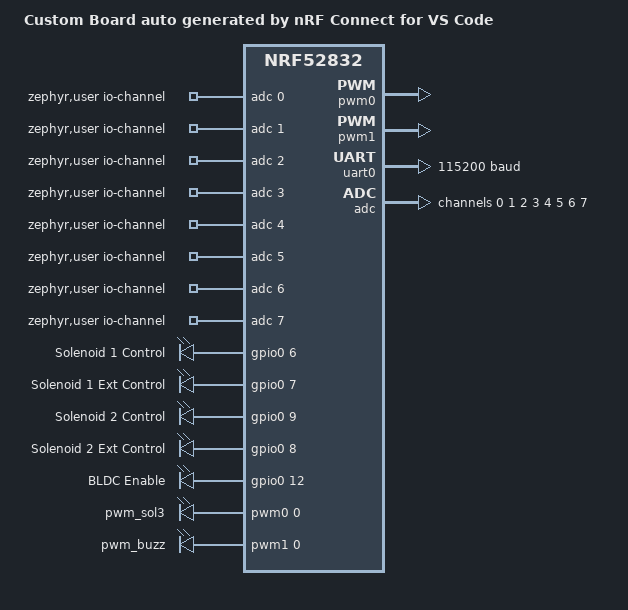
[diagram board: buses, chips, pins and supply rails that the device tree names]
/dts-v1/;
#include <nordic/nrf52832_qfaa.dtsi>
#include "nrf52832_felk_ctrl_board-pinctrl.dtsi"

/ {
	model = "Custom Board auto generated by nRF Connect for VS Code";
	compatible = "nordic_semiconductor,nrf52832-felk-ctrl-board";

	chosen {
		zephyr,console = &uart0;
		zephyr,uart-mcumgr = &uart0;
		zephyr,sram = &sram0;
		zephyr,flash = &flash0;
		zephyr,code-partition = &slot0_partition;
	};

	zephyr,user {
		io-channels = <&adc 0>, <&adc 1>, <&adc 2>, <&adc 3>, <&adc 4>, <&adc 5>, <&adc 6>, <&adc 7>;
	};

	solenoids {
		compatible = "gpio-leds";

		sol1: sol_1 {
			gpios = <&gpio0 6 GPIO_ACTIVE_HIGH>;
			label = "Solenoid 1 Control";
		};

		sol1_ext: sol_1_ext {
			gpios = <&gpio0 7 GPIO_ACTIVE_HIGH>;
			label = "Solenoid 1 Ext Control";
		};

		sol2: sol_2 {
			gpios = <&gpio0 9 GPIO_ACTIVE_HIGH>;
			label = "Solenoid 2 Control";
		};

		sol2_ext: sol_2_ext {
			gpios = <&gpio0 8 GPIO_ACTIVE_HIGH>;
			label = "Solenoid 2 Ext Control";
		};

	};

	motors {
		compatible = "gpio-leds";

		bldc: bldc {
			gpios = <&gpio0 12 GPIO_ACTIVE_HIGH>;
			label = "BLDC Enable";
		};

	};

	pwm_channels {
		compatible = "pwm-leds";

		pwm_sol3: pwm_sol3 {
			pwms = <&pwm0 0 PWM_MSEC(20) PWM_POLARITY_NORMAL>;
		};

		pwm_buzz: pwm_buzz {
			pwms = <&pwm1 0 PWM_USEC(200) PWM_POLARITY_NORMAL>;
		};

	};

	aliases {
		sol1 = &sol1;
		sol1ext = &sol1_ext;
		sol2 = &sol2;
		sol2ext = &sol2_ext;
		bldc = &bldc;
		pwmsol3 = &pwm_sol3;
		pwmbuzz = &pwm_buzz;
	};

};

&flash0 {
	partitions {
		compatible = "fixed-partitions";
		#address-cells = <1>;
		#size-cells = <1>;

		boot_partition: partition@0 {
			label = "mcuboot";
			reg = <0x00000000 DT_SIZE_K(48)>;
		};

		slot0_partition: partition@c000 {
			label = "image-0";
			reg = <0x0000c000 DT_SIZE_K(200)>;
		};

		slot1_partition: partition@3e000 {
			label = "image-1";
			reg = <0x0003e000 DT_SIZE_K(200)>;
		};

		scratch_partition: partition@70000 {
			label = "image-scratch";
			reg = <0x70000 DT_SIZE_K(40)>;
		};

		storage_partition: partition@7a000 {
			label = "storage";
			reg = <0x0007a000 DT_SIZE_K(24)>;
		};
	};
};

&gpio0 {
	status = "okay";
};


&gpiote {
	status = "okay";
};

&pwm0 {
	status = "okay";
	pinctrl-0 = <&pwm0_default>;
	pinctrl-1 = <&pwm0_sleep>;
	pinctrl-names = "default", "sleep";
};

&pwm1 {
	status = "okay";
	pinctrl-0 = <&pwm1_default>;
	pinctrl-1 = <&pwm1_sleep>;
	pinctrl-names = "default", "sleep";
};

&uart0 {
	compatible = "nordic,nrf-uarte";
	status = "okay";
	current-speed = <115200>;
	pinctrl-0 = <&uart0_default>;
	pinctrl-1 = <&uart0_sleep>;
	pinctrl-names = "default", "sleep";

};

&adc {
	status = "okay";

	#address-cells = <1>;
	#size-cells = <0>;

	// Temperature PSU
	channel@0 {
		reg = <0>;
		zephyr,gain = "ADC_GAIN_1_6";
		zephyr,reference = "ADC_REF_VDD_1_4";
		zephyr,acquisition-time = <ADC_ACQ_TIME(ADC_ACQ_TIME_MICROSECONDS, 40)>;
		zephyr,input-positive = <NRF_SAADC_AIN0>;
		zephyr,resolution = <10>;
		zephyr,oversampling = <8>;
	};

	// VDD Internal
	channel@1 {
		reg = <1>;
		zephyr,gain = "ADC_GAIN_1_6";
		zephyr,reference = "ADC_REF_INTERNAL";
		zephyr,acquisition-time = <ADC_ACQ_TIME_DEFAULT>;
		zephyr,input-positive = <NRF_SAADC_VDD>;
		zephyr,resolution = <10>;
		zephyr,oversampling = <8>;
	};

	// Pressure sensor +ve
	channel@2 {
		reg = <2>;
		zephyr,gain = "ADC_GAIN_1_5";
		zephyr,reference = "ADC_REF_INTERNAL";
		zephyr,acquisition-time = <ADC_ACQ_TIME_DEFAULT>;
		zephyr,input-positive = <NRF_SAADC_AIN2>;
		zephyr,resolution = <10>;
		zephyr,oversampling = <8>;
	};

	// Pressure sensor -ve
	channel@3 {
		reg = <3>;
		zephyr,gain = "ADC_GAIN_1_5";
		zephyr,reference = "ADC_REF_INTERNAL";
		zephyr,acquisition-time = <ADC_ACQ_TIME_DEFAULT>;
		zephyr,input-positive = <NRF_SAADC_AIN3>;
		zephyr,resolution = <10>;
		zephyr,oversampling = <8>;
	};

	// CR1 Voltage
	channel@4 {
		reg = <4>;
		zephyr,gain = "ADC_GAIN_1_5";
		zephyr,reference = "ADC_REF_INTERNAL";
		zephyr,acquisition-time = <ADC_ACQ_TIME(ADC_ACQ_TIME_MICROSECONDS, 40)>;
		zephyr,input-positive = <NRF_SAADC_AIN4>;
		zephyr,resolution = <10>;
		zephyr,oversampling = <8>;
	};

	// CR2 Voltage
	channel@5 {
		reg = <5>;
		zephyr,gain = "ADC_GAIN_1_5";
		zephyr,reference = "ADC_REF_INTERNAL";
		zephyr,acquisition-time = <ADC_ACQ_TIME_DEFAULT>;
		zephyr,input-positive = <NRF_SAADC_AIN5>;
		zephyr,resolution = <10>;
		zephyr,oversampling = <8>;
	};

	// Battery Voltage
	channel@6 {
		reg = <6>;
		zephyr,gain = "ADC_GAIN_1_5";
		zephyr,reference = "ADC_REF_INTERNAL";
		zephyr,acquisition-time = <ADC_ACQ_TIME_DEFAULT>;
		zephyr,input-positive = <NRF_SAADC_AIN6>;
		zephyr,resolution = <10>;
		zephyr,oversampling = <8>;
	};

	// Temperature Pump
	channel@7 {
		reg = <7>;
		zephyr,gain = "ADC_GAIN_1_6";
		zephyr,reference = "ADC_REF_VDD_1_4";
		zephyr,acquisition-time = <ADC_ACQ_TIME(ADC_ACQ_TIME_MICROSECONDS, 40)>;
		zephyr,input-positive = <NRF_SAADC_AIN7>;
		//zephyr,input-negative = <NRF_SAADC_VDD>;
		zephyr,resolution = <10>;
		zephyr,oversampling = <8>;
	};
};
